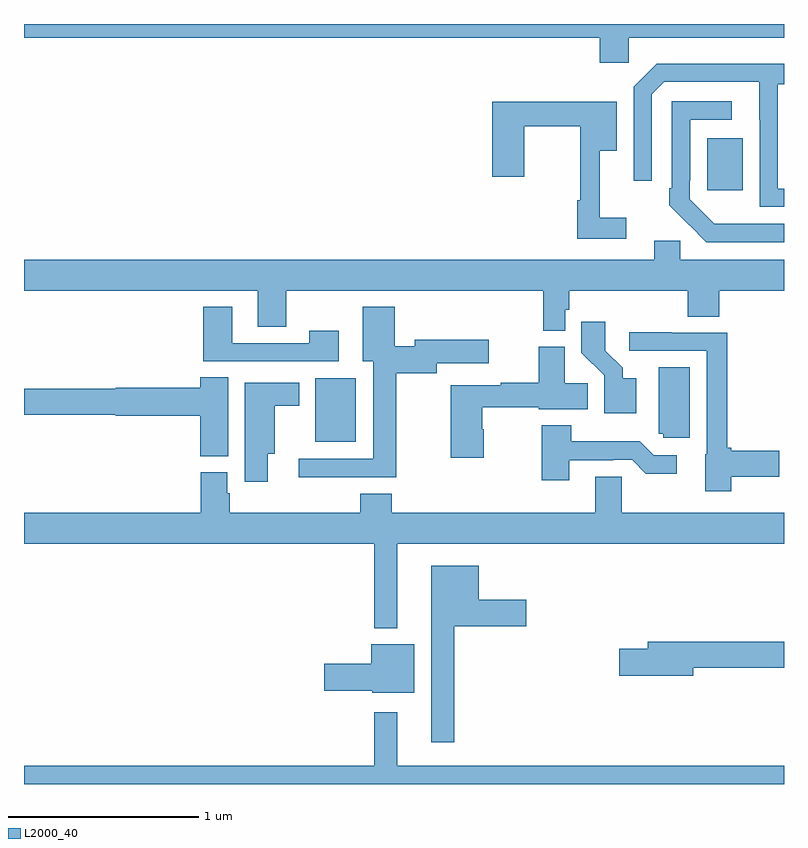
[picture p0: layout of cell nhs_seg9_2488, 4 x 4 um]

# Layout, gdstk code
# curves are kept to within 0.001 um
import gdstk
lib = gdstk.Library(unit=1e-6, precision=1e-09)
def R(c, l, rs):  # rectangles x0, y0, x1, y1
    for r in rs: c.add(gdstk.rectangle(r[:2], r[2:], *l))
def P(c, l, *ps):  # polygons
    for p in ps: c.add(gdstk.Polygon(p, *l))
L2000_40 = (2000, 40)

nhs_seg9_2488 = lib.new_cell('nhs_seg9_2488')
R(nhs_seg9_2488, L2000_40, [(254.534,1186.301,254.746,1186.636), (256.595,1187.625,256.783,1187.899)])
P(nhs_seg9_2488, L2000_40, [(256.182,1188.428),(257,1188.428),(257,1188.5),(253,1188.5),(253,1188.428),(256.031,1188.428),(256.031,1188.297),(256.182,1188.297)],
  [(257,1187.634),(256.968,1187.634),(256.968,1188.182),(257,1188.182),(257,1188.292),(256.33,1188.292),(256.209,1188.171),(256.209,1187.676),(256.305,1187.676),(256.305,1188.129),(256.371,1188.195),(256.871,1188.195),(256.872,1187.538),(257,1187.538)],
  [(257,1187.448),(256.632,1187.449),(256.503,1187.577),(256.503,1187.677),(256.506,1187.677),(256.506,1187.997),(256.726,1187.997),(256.726,1188.093),(256.41,1188.093),(256.41,1187.635),(256.395,1187.635),(256.395,1187.547),(256.592,1187.352),(257,1187.352)],
  [(256.171,1187.479),(256.031,1187.479),(256.031,1187.834),(256.12,1187.834),(256.12,1188.091),(255.464,1188.091),(255.464,1187.697),(255.634,1187.697),(255.634,1187.962),(255.928,1187.962),(255.928,1187.573),(255.913,1187.573),(255.913,1187.37),(256.171,1187.37)],
  [(256.455,1187.358),(256.316,1187.358),(256.316,1187.26),(253,1187.26),(253,1187.096),(254.231,1187.096),(254.231,1186.906),(254.379,1186.906),(254.379,1187.096),(255.733,1187.096),(255.733,1186.886),(255.849,1186.886),(255.849,1186.995),(255.869,1186.995),(255.869,1187.096),(256.493,1187.096),(256.493,1186.96),(256.658,1186.96),(256.658,1187.096),(257,1187.096),(257,1187.26),(256.455,1187.26)],
  [(254.656,1186.885),(254.5,1186.885),(254.5,1186.821),(254.095,1186.821),(254.095,1187.011),(253.943,1187.011),(253.943,1186.725),(254.656,1186.725)],
  [(254.958,1186.661),(255.172,1186.661),(255.172,1186.715),(255.445,1186.715),(255.445,1186.837),(255.056,1186.837),(255.056,1186.803),(254.95,1186.803),(254.95,1187.011),(254.783,1187.011),(254.783,1186.724),(254.837,1186.724),(254.837,1186.212),(254.445,1186.212),(254.445,1186.115),(254.958,1186.115)],
  [(256.222,1186.636),(256.15,1186.636),(256.15,1186.691),(256.06,1186.781),(256.06,1186.933),(255.934,1186.933),(255.934,1186.77),(256.053,1186.651),(256.053,1186.5),(256.055,1186.5),(256.055,1186.451),(256.222,1186.451)],
  [(256.722,1186.118),(256.975,1186.118),(256.975,1186.253),(256.722,1186.253),(256.722,1186.271),(256.702,1186.271),(256.702,1186.875),(256.409,1186.875),(256.409,1186.878),(256.185,1186.878),(256.185,1186.779),(256.593,1186.779),(256.593,1186.236),(256.586,1186.236),(256.586,1186.04),(256.722,1186.04)],
  [(255.42,1186.368),(255.412,1186.368),(255.412,1186.483),(255.71,1186.483),(255.71,1186.472),(255.968,1186.472),(255.968,1186.61),(255.847,1186.61),(255.847,1186.801),(255.71,1186.801),(255.71,1186.612),(255.508,1186.612),(255.508,1186.599),(255.247,1186.599),(255.247,1186.218),(255.42,1186.218)],
  [(256.504,1186.693),(256.34,1186.693),(256.34,1186.344),(256.365,1186.344),(256.365,1186.323),(256.504,1186.323)],
  [(254.074,1186.64),(253.928,1186.64),(253.928,1186.586),(253.482,1186.586),(253.482,1186.58),(253,1186.58),(253,1186.444),(253.482,1186.444),(253.482,1186.439),(253.928,1186.439),(253.928,1186.225),(254.074,1186.225)],
  [(254.284,1186.238),(254.32,1186.238),(254.32,1186.49),(254.449,1186.49),(254.449,1186.612),(254.162,1186.612),(254.162,1186.092),(254.284,1186.092)],
  [(255.871,1186.203),(256.1,1186.203),(256.1,1186.206),(256.2,1186.206),(256.273,1186.133),(256.435,1186.133),(256.435,1186.23),(256.314,1186.23),(256.241,1186.303),(255.879,1186.303),(255.879,1186.387),(255.724,1186.387),(255.724,1186.098),(255.871,1186.098)],
  [(254.844,1185.32),(254.965,1185.32),(254.965,1185.764),(257,1185.764),(257,1185.928),(256.146,1185.928),(256.146,1186.118),(256.007,1186.118),(256.007,1185.928),(254.936,1185.928),(254.936,1186.027),(254.771,1186.027),(254.771,1185.928),(254.084,1185.928),(254.084,1186.029),(254.071,1186.029),(254.071,1186.14),(253.931,1186.14),(253.931,1185.928),(253,1185.928),(253,1185.764),(254.844,1185.764)],
  [(255.265,1185.329),(255.643,1185.329),(255.643,1185.471),(255.394,1185.471),(255.394,1185.649),(255.143,1185.649),(255.143,1184.721),(255.265,1184.721)],
  [(256.522,1185.112),(257,1185.112),(257,1185.248),(256.283,1185.248),(256.283,1185.212),(256.134,1185.212),(256.134,1185.07),(256.522,1185.07)],
  [(255.055,1185.235),(254.828,1185.235),(254.828,1185.134),(254.58,1185.134),(254.58,1184.992),(254.832,1184.992),(254.832,1184.981),(255.055,1184.981)],
  [(257,1184.596),(254.965,1184.596),(254.965,1184.878),(254.844,1184.878),(254.844,1184.596),(253,1184.596),(253,1184.5),(257,1184.5)])

lib.write_gds('nhs_seg9_2488.gds')
